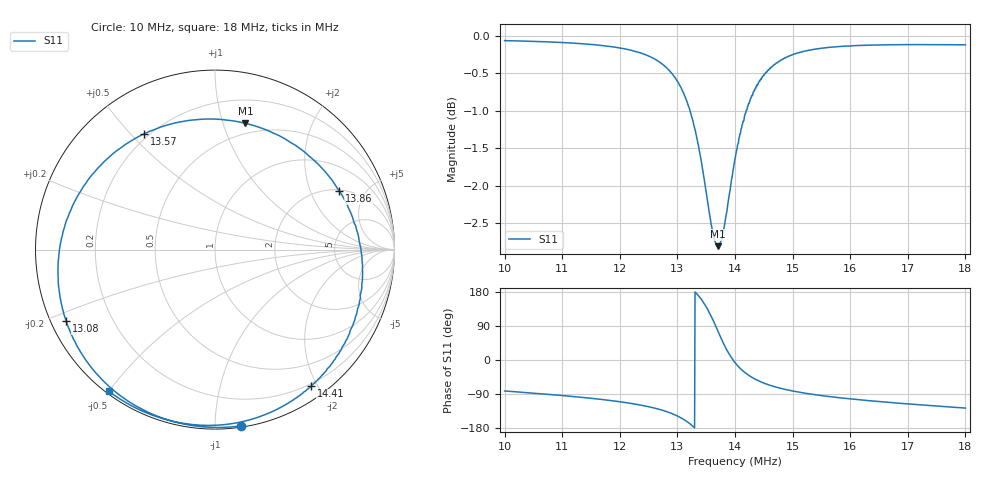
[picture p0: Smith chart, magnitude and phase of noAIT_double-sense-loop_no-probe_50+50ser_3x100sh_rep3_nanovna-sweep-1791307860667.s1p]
! NanoVNA Web complex sweep
! Processing: unaveraged complex samples; linear segment spacing; no smoothing
# Hz S RI R 50
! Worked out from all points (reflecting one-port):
!   1010 points, 10 MHz to 18 MHz, reference 50 ohm
!   lowest |S11| = -2.8 dB at 13.7 MHz (marker M1), VSWR 6.24, Z = 20.1 + j59.4 ohm
!   phase of S11 starts at -82 deg and turns -405 deg over the sweep
!   S11 on the Smith chart (normalised r, x): 10 MHz: 0.01, -1.16; 13.08 MHz: 0.04, -0.23; 13.57 MHz: 0.18, +0.55; 13.86 MHz: 2.05, +3.23; 14.41 MHz: 0.17, -1.91; 18 MHz: 0.01, -0.50
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1e7  0.143 -0.9825
1.100698e7  -0.0661 -0.9876
1.200604e7  -0.3396 -0.9209
1.233906e7  -0.4626 -0.858
1.260864e7  -0.5824 -0.7692
1.283065e7  -0.6968 -0.6468
1.300509e7  -0.7908 -0.4928
1.308438e7  -0.8295 -0.3964
1.325089e7  -0.8751 -0.1156
1.336982e7  -0.8275 0.1627
1.34729e7  -0.6726 0.4302
1.356805e7  -0.3954 0.6444
1.363941e7  -0.1109 0.7233
1.370284e7  0.1692 0.7036
1.378213e7  0.476 0.5612
1.386142e7  0.6908 0.3273
1.393278e7  0.7911 0.1027
1.400414e7  0.8213 -0.1095
1.409136e7  0.7955 -0.3264
1.418651e7  0.7296 -0.5067
1.428959e7  0.641 -0.6493
1.440852e7  0.535 -0.7621
1.466225e7  0.3369 -0.894
1.50032e7  0.1371 -0.9618
1.544722e7  -0.0484 -0.9795
1.600225e7  -0.2147 -0.9605
1.700131e7  -0.431 -0.8875
1.800036e7  -0.5919 -0.789
